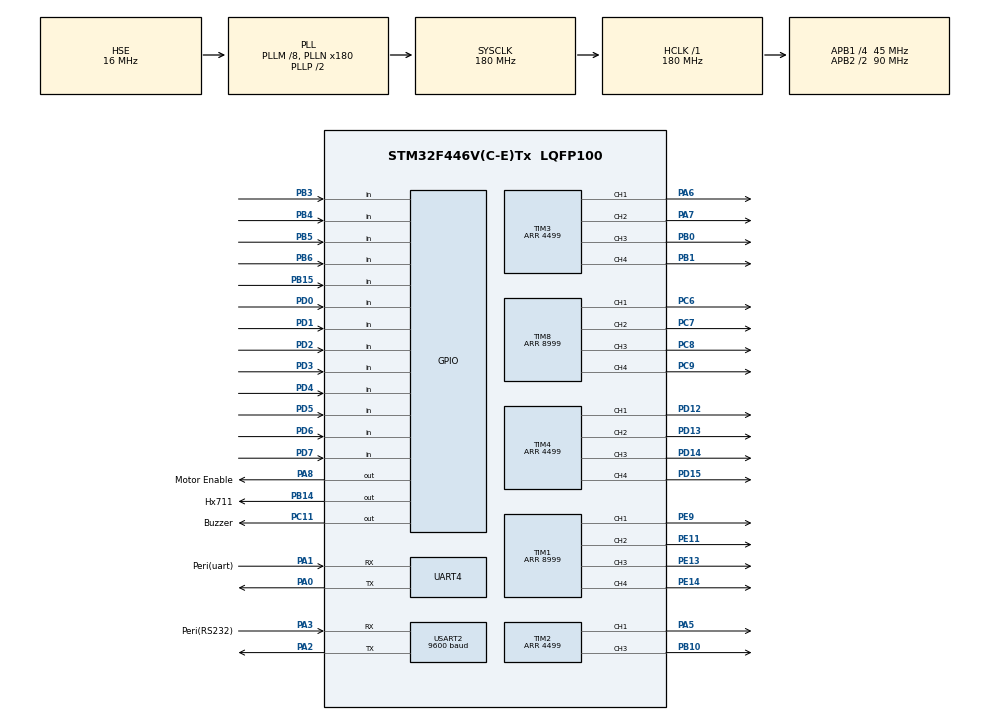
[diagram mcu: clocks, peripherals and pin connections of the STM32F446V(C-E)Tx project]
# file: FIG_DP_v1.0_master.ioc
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Mcu.Family=STM32F4
Mcu.Name=STM32F446V(C-E)Tx
Mcu.Package=LQFP100
NVIC.PriorityGroup=NVIC_PRIORITYGROUP_4
NVIC.TIM1_TRG_COM_TIM11_IRQn=true\:0\:0\:false\:false\:true\:true\:true
NVIC.UART4_IRQn=true\:0\:0\:false\:false\:true\:true\:true
NVIC.USART2_IRQn=true\:0\:0\:false\:false\:true\:true\:true
PA0-WKUP.Mode=Asynchronous
PA0-WKUP.Signal=UART4_TX
PA1.GPIO_Label=Peri(uart)
PA1.Mode=Asynchronous
PA1.Signal=UART4_RX
PA2.Mode=Asynchronous
PA2.Signal=USART2_TX
PA3.GPIO_Label=Peri(RS232)
PA3.Mode=Asynchronous
PA3.Signal=USART2_RX
PA5.Signal=S_TIM2_CH1_ETR
PA6.Signal=S_TIM3_CH1
PA7.Signal=S_TIM3_CH2
PA8.GPIO_Label=Motor Enable
PA8.Signal=GPIO_Output
PB0.Signal=S_TIM3_CH3
PB1.Signal=S_TIM3_CH4
PB10.Signal=S_TIM2_CH3
PB14.GPIO_Label=Hx711
PB14.Signal=GPIO_Output
PB15.Signal=GPIO_Input
PB3.Signal=GPIO_Input
PB4.Signal=GPIO_Input
PB5.Signal=GPIO_Input
PB6.Signal=GPIO_Input
PC11.GPIO_Label=Buzzer
PC11.GPIO_PuPd=GPIO_PULLDOWN
PC11.PinState=GPIO_PIN_RESET
PC11.Signal=GPIO_Output
PC6.Signal=S_TIM8_CH1
PC7.Signal=S_TIM8_CH2
PC8.Signal=S_TIM8_CH3
PC9.Signal=S_TIM8_CH4
PD0.Signal=GPIO_Input
PD1.Signal=GPIO_Input
PD12.Signal=S_TIM4_CH1
PD13.Signal=S_TIM4_CH2
PD14.Signal=S_TIM4_CH3
PD15.Signal=S_TIM4_CH4
PD2.Signal=GPIO_Input
PD3.Signal=GPIO_Input
PD4.Signal=GPIO_Input
PD5.Signal=GPIO_Input
PD6.Signal=GPIO_Input
PD7.Signal=GPIO_Input
PE11.Signal=S_TIM1_CH2
PE13.Signal=S_TIM1_CH3
PE14.Signal=S_TIM1_CH4
PE9.Signal=S_TIM1_CH1
PH0-OSC_IN.Mode=HSE-External-Oscillator
PH0-OSC_IN.Signal=RCC_OSC_IN
PH1-OSC_OUT.Mode=HSE-External-Oscillator
PH1-OSC_OUT.Signal=RCC_OSC_OUT
ProjectManager.HeapSize=0x200
ProjectManager.StackSize=0x400
ProjectManager.TargetToolchain=EWARM V8.32
RCC.AHBFreq_Value=180000000
RCC.APB1CLKDivider=RCC_HCLK_DIV4
RCC.APB1Freq_Value=45000000
RCC.APB1TimFreq_Value=90000000
RCC.APB2CLKDivider=RCC_HCLK_DIV2
RCC.APB2Freq_Value=90000000
RCC.APB2TimFreq_Value=180000000
RCC.CortexFreq_Value=180000000
RCC.HCLKFreq_Value=180000000
RCC.HSE_VALUE=16000000
RCC.PLLM=8
RCC.PLLN=180
RCC.PLLSourceVirtual=RCC_PLLSOURCE_HSE
RCC.SYSCLKFreq_VALUE=180000000
RCC.SYSCLKSource=RCC_SYSCLKSOURCE_PLLCLK
RCC.USBFreq_Value=180000000
RCC.VCOOutputFreq_Value=360000000
SH.S_TIM1_CH1.0=TIM1_CH1,PWM Generation1 CH1
SH.S_TIM1_CH2.0=TIM1_CH2,PWM Generation2 CH2
SH.S_TIM1_CH3.0=TIM1_CH3,PWM Generation3 CH3
SH.S_TIM1_CH4.0=TIM1_CH4,PWM Generation4 CH4
SH.S_TIM2_CH1_ETR.0=TIM2_CH1,Output Compare1 CH1
SH.S_TIM2_CH3.0=TIM2_CH3,PWM Generation3 CH3
SH.S_TIM3_CH1.0=TIM3_CH1,PWM Generation1 CH1
SH.S_TIM3_CH2.0=TIM3_CH2,PWM Generation2 CH2
SH.S_TIM3_CH3.0=TIM3_CH3,PWM Generation3 CH3
SH.S_TIM3_CH4.0=TIM3_CH4,PWM Generation4 CH4
SH.S_TIM4_CH1.0=TIM4_CH1,PWM Generation1 CH1
SH.S_TIM4_CH2.0=TIM4_CH2,PWM Generation2 CH2
SH.S_TIM4_CH3.0=TIM4_CH3,PWM Generation3 CH3
SH.S_TIM4_CH4.0=TIM4_CH4,PWM Generation4 CH4
SH.S_TIM8_CH1.0=TIM8_CH1,PWM Generation1 CH1
SH.S_TIM8_CH2.0=TIM8_CH2,PWM Generation2 CH2
SH.S_TIM8_CH3.0=TIM8_CH3,PWM Generation3 CH3
SH.S_TIM8_CH4.0=TIM8_CH4,PWM Generation4 CH4
TIM1.Channel-PWM\ Generation1\ CH1=TIM_CHANNEL_1
TIM1.Channel-PWM\ Generation2\ CH2=TIM_CHANNEL_2
TIM1.Channel-PWM\ Generation3\ CH3=TIM_CHANNEL_3
TIM1.Channel-PWM\ Generation4\ CH4=TIM_CHANNEL_4
TIM1.Period=8999
TIM11.Period=8999
TIM2.Channel-Output\ Compare1\ CH1=TIM_CHANNEL_1
TIM2.Channel-PWM\ Generation3\ CH3=TIM_CHANNEL_3
TIM2.Period=4499
TIM3.Channel-PWM\ Generation1\ CH1=TIM_CHANNEL_1
TIM3.Channel-PWM\ Generation2\ CH2=TIM_CHANNEL_2
TIM3.Channel-PWM\ Generation3\ CH3=TIM_CHANNEL_3
TIM3.Channel-PWM\ Generation4\ CH4=TIM_CHANNEL_4
TIM3.Period=4499
TIM4.Channel-PWM\ Generation1\ CH1=TIM_CHANNEL_1
TIM4.Channel-PWM\ Generation2\ CH2=TIM_CHANNEL_2
TIM4.Channel-PWM\ Generation3\ CH3=TIM_CHANNEL_3
TIM4.Channel-PWM\ Generation4\ CH4=TIM_CHANNEL_4
TIM4.Period=4499
TIM8.Channel-PWM\ Generation1\ CH1=TIM_CHANNEL_1
TIM8.Channel-PWM\ Generation2\ CH2=TIM_CHANNEL_2
TIM8.Channel-PWM\ Generation3\ CH3=TIM_CHANNEL_3
TIM8.Channel-PWM\ Generation4\ CH4=TIM_CHANNEL_4
TIM8.Period=8999
UART4.VirtualMode=Asynchronous
USART2.BaudRate=9600
USART2.VirtualMode=VM_ASYNC
VP_TIM11_VS_ClockSourceINT.Mode=Enable_Timer
VP_TIM1_VS_ClockSourceINT.Mode=Internal
VP_TIM2_VS_ClockSourceINT.Mode=Internal
VP_TIM3_VS_ClockSourceINT.Mode=Internal
VP_TIM4_VS_ClockSourceINT.Mode=Internal
VP_TIM8_VS_ClockSourceINT.Mode=Internal
board=custom

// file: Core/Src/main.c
/* USER CODE BEGIN Header */
/**
  ******************************************************************************
  * @file           : main.c
  * @brief          : Main program body
  ******************************************************************************
  * @attention
  *
  * <h2><center>&copy; Copyright (c) 2021 STMicroelectronics.
  * All rights reserved.</center></h2>
  *
  * This software component is licensed by ST under BSD 3-Clause license,
  * the "License"; You may not use this file except in compliance with the
  * License. You may obtain a copy of the License at:
  *                        opensource.org/licenses/BSD-3-Clause
  *
  ******************************************************************************
  */
/* USER CODE END Header */
#include "main.h"

/* USER CODE BEGIN Includes */

#include "st2_driver/st2_driver.h"  // 2phase
#include "st5_driver/st5_driver.h"  // 5phase

#include "HX711/hx711.h" //HX711

/* USER CODE END Includes */

TIM_HandleTypeDef htim1;
TIM_HandleTypeDef htim2;
TIM_HandleTypeDef htim3;
TIM_HandleTypeDef htim4;
TIM_HandleTypeDef htim8;
TIM_HandleTypeDef htim11;

UART_HandleTypeDef huart4;
UART_HandleTypeDef huart2;

void SystemClock_Config(void);
static void MX_GPIO_Init(void);
static void MX_TIM1_Init(void);
static void MX_TIM2_Init(void);
static void MX_TIM3_Init(void);
static void MX_TIM4_Init(void);
static void MX_TIM8_Init(void);
static void MX_TIM11_Init(void);
static void MX_UART4_Init(void);
static void MX_USART2_UART_Init(void);

/* USER CODE BEGIN 0 */

//For HX711
int read;
int read_aa;
int ave_read;
int ave_read_aa;

// IN
#define SENSOR_INPUT_NUM 5
#define INPUT_NUM 5

GPIO_TypeDef* sensorInputPort[] = {GPIOD, GPIOD, GPIOD, GPIOD, GPIOD};
uint16_t sensorInputPin[] = {GPIO_PIN_0, GPIO_PIN_1, GPIO_PIN_2, GPIO_PIN_3, GPIO_PIN_4};

GPIO_TypeDef* inputPort[] = {GPIOB, GPIOB, GPIOB, GPIOB};
uint16_t inputPin[] = {GPIO_PIN_3, GPIO_PIN_4, GPIO_PIN_5, GPIO_PIN_6};

GPIO_TypeDef* outputPort[] = {GPIOC};
uint16_t outputPin[] = {GPIO_PIN_11};

GPIO_PinState inputValue_1[5];
GPIO_PinState inputValue_2[4];
GPIO_PinState outputValue[1];

/////////////////////////////////////////////////////// 5Phase//////////////////

#define _5_PHASE_MOTOR_FREQUENCY 20000 // 20kHz

float st5_pwmDuty[10];

/////////////////////////////////////////////////////// 5Phase-----------------

/////////////////////////////////////////////////////// 2Phase//////////////////

#define _2_PHASE_MOTOR_FREQUENCY 20000 // 20kHz

float st2_pwmDuty[10];

/////////////////////////////////////////////////////// 2Phase-----------------

/////////////////////////////////////////////////////// step motor general /////

#define ENABLE_GATE     HAL_GPIO_WritePin(GPIOA, GPIO_PIN_8, GPIO_PIN_SET)
#define DISABLE_GATE    HAL_GPIO_WritePin(GPIOA, GPIO_PIN_8, GPIO_PIN_RESET)

// 20kHz callback interrupt with timer11
uint16_t cnt_for_tim11_debugging;     // Should be smaller than 9000
uint16_t max_cnt_for_tim11_debugging;
uint8_t cnt;

void HAL_TIM_PeriodElapsedCallback(TIM_HandleTypeDef *htim){

  if(htim == &htim11){

    ST2_Loop();
    ST5_Loop();

////////////////////////////////////////////5phase

    ST5_getPWM(st5_pwmDuty);

    // A
    if(st5_pwmDuty[0] > 0 && st5_pwmDuty[5] == 0){
      // High or Hi-Z...? (H1 L0)
      TIM3->CCR3 = (uint16_t)(st5_pwmDuty[0] * TIM3->ARR);      // VOHGA
      TIM3->CCR2 = (uint16_t)(1 * TIM3->ARR);      // VOLA
    }
    else if(st5_pwmDuty[0] == 0 && st5_pwmDuty[5] > 0){
      // Low (H0 L1)
      TIM3->CCR3 = (uint16_t)(st5_pwmDuty[0] * TIM3->ARR);      // VOHGA
      TIM3->CCR2 = (uint16_t)(st5_pwmDuty[5] * TIM3->ARR);      // VOLA
    }
    else if(st5_pwmDuty[0] == 0 && st5_pwmDuty[5] == 0){
      // Hi-Z (H0 L0)
      TIM3->CCR3 = (uint16_t)(st5_pwmDuty[0] * TIM3->ARR);      // VOHGA
      TIM3->CCR2 = (uint16_t)(st5_pwmDuty[5] * TIM3->ARR);      // VOLA
    }

    // B
    if(st5_pwmDuty[1] > 0 && st5_pwmDuty[6] == 0){
      // High or Hi-Z...? (H1 L0)
      TIM3->CCR1 = (uint16_t)(st5_pwmDuty[1] * TIM3->ARR);      // VOHGB
      TIM2->CCR1 = (uint16_t)(1 * TIM2->ARR);      // VOLB
    }
    else if(st5_pwmDuty[1] == 0 && st5_pwmDuty[6] > 0){
      // Low (H0 L1)
      TIM3->CCR1 = (uint16_t)(st5_pwmDuty[1] * TIM3->ARR);      // VOHGB
      TIM2->CCR1 = (uint16_t)(st5_pwmDuty[6] * TIM2->ARR);      // VOLB
    }
    else if(st5_pwmDuty[1] == 0 && st5_pwmDuty[6] == 0){
      // Hi-Z (H0 L0)
      TIM3->CCR1 = (uint16_t)(st5_pwmDuty[1] * TIM3->ARR);      // VOHGB
      TIM2->CCR1 = (uint16_t)(st5_pwmDuty[6] * TIM2->ARR);      // VOLB
    }

    // C
    if(st5_pwmDuty[2] > 0 && st5_pwmDuty[7] == 0){
      // High or Hi-Z...? (H1 L0)
      TIM2->CCR3 = (uint16_t)(st5_pwmDuty[2] * TIM2->ARR);      // VOHGC
      TIM1->CCR4 = (uint16_t)(1 * TIM1->ARR);      // VOLC
    }
    else if(st5_pwmDuty[2] == 0 && st5_pwmDuty[7] > 0){
      // Low (H0 L1)
      TIM2->CCR3 = (uint16_t)(st5_pwmDuty[2] * TIM2->ARR);      // VOHGC
      TIM1->CCR4 = (uint16_t)(st5_pwmDuty[7] * TIM1->ARR);      // VOLC
    }
    else if(st5_pwmDuty[2] == 0 && st5_pwmDuty[7] == 0){
      // Hi-Z (H0 L0)
      TIM2->CCR3 = (uint16_t)(st5_pwmDuty[2] * TIM2->ARR);      // VOHGC
      TIM1->CCR4 = (uint16_t)(st5_pwmDuty[7] * TIM1->ARR);      // VOLC
    }

    // D
    if(st5_pwmDuty[3] > 0 && st5_pwmDuty[8] == 0){
      // High or Hi-Z...? (H1 L0)
      TIM1->CCR3 = (uint16_t)(st5_pwmDuty[3] * TIM1->ARR);      // VOHGD
      TIM1->CCR2 = (uint16_t)(1 * TIM1->ARR);      // VOLD
    }
    else if(st5_pwmDuty[3] == 0.0 && st5_pwmDuty[8] > 0.0){
      // Low (H0 L1)
      TIM1->CCR3 = (uint16_t)(st5_pwmDuty[3] * TIM1->ARR);      // VOHGD
      TIM1->CCR2 = (uint16_t)(st5_pwmDuty[8] * TIM1->ARR);      // VOLD
    }
    else if(st5_pwmDuty[3] == 0.0 && st5_pwmDuty[8] == 0.0){
      // Hi-Z (H0 L0)
      TIM1->CCR3 = (uint16_t)(st5_pwmDuty[3] * TIM1->ARR);      // VOHGD
      TIM1->CCR2 = (uint16_t)(st5_pwmDuty[8] * TIM1->ARR);      // VOLD
    }

    // E
    if(st5_pwmDuty[4] > 0 && st5_pwmDuty[9] == 0){
      // High or Hi-Z...? (H1 L0)
      TIM1->CCR1 = (uint16_t)(st5_pwmDuty[4] * TIM1->ARR);      // VOHGE
      TIM3->CCR4 = (uint16_t)(1 * TIM3->ARR);      // VOLE
    }
    else if(st5_pwmDuty[4] == 0 && st5_pwmDuty[9] > 0){
      // Low (H0 L1)
      TIM1->CCR1 = (uint16_t)(st5_pwmDuty[4] * TIM1->ARR);      // VOHGE
      TIM3->CCR4 = (uint16_t)(st5_pwmDuty[9] * TIM3->ARR);      // VOLE
    }
    else if(st5_pwmDuty[4] == 0 && st5_pwmDuty[9] == 0){
      // Hi-Z (H0 L0)
      TIM1->CCR1 = (uint16_t)(st5_pwmDuty[4] * TIM1->ARR);      // VOHGE
      TIM3->CCR4 = (uint16_t)(st5_pwmDuty[9] * TIM3->ARR);      // VOLE
    }

////////////////////////////////////////////2phase
    ST2_getPWM(st2_pwmDuty);

    // A
    if(st2_pwmDuty[0] > 0 && st2_pwmDuty[4] == 0){
      // High or Hi-Z...? (H1 L0)
      TIM8->CCR2 = (uint16_t)(st2_pwmDuty[0] * TIM8->ARR);      // VOHGA
      TIM8->CCR1 = (uint16_t)(1 * TIM8->ARR);      // VOLA
    }
    else if(st2_pwmDuty[0] == 0 && st2_pwmDuty[4] > 0){
      // Low (H0 L1)
      TIM8->CCR2 = (uint16_t)(st2_pwmDuty[0] * TIM8->ARR);      // VOHGA
      TIM8->CCR1 = (uint16_t)(st2_pwmDuty[4] * TIM8->ARR);      // VOLA
    }
    else if(st2_pwmDuty[0] == 0 && st2_pwmDuty[4] == 0){
      // Hi-Z (H0 L0)
      TIM8->CCR2 = (uint16_t)(st2_pwmDuty[0] * TIM8->ARR);      // VOHGA
      TIM8->CCR1 = (uint16_t)(st2_pwmDuty[4] * TIM8->ARR);      // VOLA
    }

    // C
    if(st2_pwmDuty[1] > 0 && st2_pwmDuty[5] == 0){
      // High or Hi-Z...? (H1 L0)
      TIM4->CCR2 = (uint16_t)(st2_pwmDuty[1] * TIM4->ARR);      // VOHGC
      TIM4->CCR1 = (uint16_t)(1 * TIM4->ARR);      // VOLC
    }
    else if(st2_pwmDuty[2] == 0 && st2_pwmDuty[5] > 0){
      // Low (H0 L1)
      TIM4->CCR2 = (uint16_t)(st2_pwmDuty[1] * TIM4->ARR);      // VOHGC
      TIM4->CCR1 = (uint16_t)(st2_pwmDuty[5] * TIM4->ARR);      // VOLC
    }
    else if(st2_pwmDuty[1] == 0 && st2_pwmDuty[5] == 0){
      // Hi-Z (H0 L0)
      TIM4->CCR2 = (uint16_t)(st2_pwmDuty[1] * TIM4->ARR);      // VOHGC
      TIM4->CCR1 = (uint16_t)(st2_pwmDuty[5] * TIM4->ARR);      // VOLC
    }

    // B
    if(st2_pwmDuty[2] > 0 && st2_pwmDuty[6] == 0){
      // High or Hi-Z...? (H1 L0)
      TIM4->CCR4 = (uint16_t)(st2_pwmDuty[2] * TIM4->ARR);      // VOHGB
      TIM4->CCR3 = (uint16_t)(1 * TIM4->ARR);      // VOLB
    }
    else if(st2_pwmDuty[2] == 0 && st2_pwmDuty[6] > 0){
      // Low (H0 L1)
      TIM4->CCR4 = (uint16_t)(st2_pwmDuty[2] * TIM4->ARR);      // VOHGB
      TIM4->CCR3 = (uint16_t)(st2_pwmDuty[6] * TIM4->ARR);      // VOLB
    }
    else if(st2_pwmDuty[2] == 0 && st2_pwmDuty[6] == 0){
      // Hi-Z (H0 L0)
      TIM4->CCR4 = (uint16_t)(st2_pwmDuty[2] * TIM4->ARR);      // VOHGB
      TIM4->CCR3 = (uint16_t)(st2_pwmDuty[6] * TIM4->ARR);      // VOLB
    }

    // D
    if(st2_pwmDuty[3] > 0 && st2_pwmDuty[7] == 0){
      // High or Hi-Z...? (H1 L0)
      TIM8->CCR4 = (uint16_t)(st2_pwmDuty[3] * TIM8->ARR);      // VOHGD
      TIM8->CCR3 = (uint16_t)(1 * TIM8->ARR);      // VOLD
    }
    else if(st2_pwmDuty[3] == 0.0 && st2_pwmDuty[7] > 0.0){
      // Low (H0 L1)
      TIM8->CCR4 = (uint16_t)(st2_pwmDuty[3] * TIM8->ARR);      // VOHGD
      TIM8->CCR3 = (uint16_t)(st2_pwmDuty[7] * TIM8->ARR);      // VOLD
    }
    else if(st2_pwmDuty[3] == 0.0 && st2_pwmDuty[7] == 0.0){
      // Hi-Z (H0 L0)
      TIM8->CCR4 = (uint16_t)(st2_pwmDuty[3] * TIM8->ARR);      // VOHGD
      TIM8->CCR3 = (uint16_t)(st2_pwmDuty[7] * TIM8->ARR);      // VOLD
    }

    cnt_for_tim11_debugging = TIM11->CNT;
    if(max_cnt_for_tim11_debugging < cnt_for_tim11_debugging){
      max_cnt_for_tim11_debugging = cnt_for_tim11_debugging;
    }
  }
}

/////////////////////////////////////////////////////// step motor general -----

/* USER CODE END 0 */

int main(void)
{

  /* MCU Configuration--------------------------------------------------------*/

  /* Reset of all peripherals, Initializes the Flash interface and the Systick. */
  HAL_Init();

  /* Configure the system clock */
  SystemClock_Config();

  /* Initialize all configured peripherals */
  MX_GPIO_Init();
  MX_TIM1_Init();
  MX_TIM2_Init();
  MX_TIM3_Init();
  MX_TIM4_Init();
  MX_TIM8_Init();
  MX_TIM11_Init();
  MX_UART4_Init();
  MX_USART2_UART_Init();
  /* USER CODE BEGIN 2 */

  //FOR HX711
  HX711 sensor;
  sensor.PD_SCK_PinType=GPIOB;
  sensor.PD_SCK_PinNumber=GPIO_PIN_14;
  sensor.DOUT_PinType=GPIOB;
  sensor.DOUT_PinNumber=GPIO_PIN_15;
  sensor.mode=0;

  HX711_Tare(&sensor, 15);

/////////////////////////////////////////////////////// step motor general -----

  DISABLE_GATE;

  ////////////////////5phase
  HAL_TIM_PWM_Start(&htim3, TIM_CHANNEL_3);     // ST5 VOHGA
  HAL_TIM_PWM_Start(&htim3, TIM_CHANNEL_1);     // ST5 VOHGB
  HAL_TIM_PWM_Start(&htim2, TIM_CHANNEL_3);    // ST5 VOHGC
  HAL_TIM_PWM_Start(&htim1, TIM_CHANNEL_3);     // ST5 VOHGD
  HAL_TIM_PWM_Start(&htim1, TIM_CHANNEL_1);     // ST5 VOHGE

  HAL_TIM_PWM_Start(&htim3, TIM_CHANNEL_2);     // ST5 VOLA
  HAL_TIM_PWM_Start(&htim2, TIM_CHANNEL_1);    // ST5 VOLB
  HAL_TIM_PWM_Start(&htim1, TIM_CHANNEL_4);     // ST5 VOLC
  HAL_TIM_PWM_Start(&htim1, TIM_CHANNEL_2);     // ST5 VOLD
  HAL_TIM_PWM_Start(&htim3, TIM_CHANNEL_4);     // ST5 VOLE

  ST5_Init(_5_PHASE_MOTOR_FREQUENCY);

  ////////////////////2phase
  HAL_TIM_PWM_Start(&htim8, TIM_CHANNEL_2);     // ST2 VOHGA
  HAL_TIM_PWM_Start(&htim4, TIM_CHANNEL_2);     // ST2 VOHGC
  HAL_TIM_PWM_Start(&htim4, TIM_CHANNEL_4);     // ST2 VOHGB
  HAL_TIM_PWM_Start(&htim8, TIM_CHANNEL_4);     // ST2 VOHGD

  HAL_TIM_PWM_Start(&htim8, TIM_CHANNEL_1);     // ST2 VOLA
  HAL_TIM_PWM_Start(&htim4, TIM_CHANNEL_1);     // ST2 VOLC
  HAL_TIM_PWM_Start(&htim4, TIM_CHANNEL_3);     // ST2 VOLB
  HAL_TIM_PWM_Start(&htim8, TIM_CHANNEL_3);     // ST2 VOLD

  ST2_Init(_2_PHASE_MOTOR_FREQUENCY);

  ENABLE_GATE;

  HAL_TIM_Base_Start_IT(&htim11); // 20kHz interrupt with timer11

/////////////////////////////////////////////////////// step motor general -----

  /* USER CODE END 2 */

  /* Infinite loop */
  /* USER CODE BEGIN WHILE */
  while (1)
  {

    uint8_t i_io;

     // sensor input
      for(i_io=0; i_io<5; ++i_io){
        inputValue_1[i_io] = HAL_GPIO_ReadPin(sensorInputPort[i_io], sensorInputPin[i_io]);
        HAL_Delay(10);
      }
//      // input
      for(i_io=0; i_io<4; ++i_io){
        inputValue_2[i_io] = HAL_GPIO_ReadPin(inputPort[i_io], inputPin[i_io]);
        HAL_Delay(10);
      }

        // output ON & OFF
      if(outputValue[0] == 1){
        HAL_GPIO_WritePin(outputPort[0], outputPin[0], GPIO_PIN_SET);
        HAL_Delay(200);
      }
      if(outputValue[0] == 0){
        HAL_GPIO_WritePin(outputPort[0], outputPin[0], GPIO_PIN_RESET);
        HAL_Delay(200);
      }

    //HX711
    read = HX711_GetValue(&sensor);
    read_aa = (float)read/394.22;
    ave_read = HX711_GetAvgValue(&sensor, 15);
    ave_read_aa = (float)ave_read/394.22;

    /* USER CODE END WHILE */

  }
}

void SystemClock_Config(void)
{
  RCC_OscInitTypeDef RCC_OscInitStruct = {0};
  RCC_ClkInitTypeDef RCC_ClkInitStruct = {0};

  /** Configure the main internal regulator output voltage
  */
  __HAL_RCC_PWR_CLK_ENABLE();
  __HAL_PWR_VOLTAGESCALING_CONFIG(PWR_REGULATOR_VOLTAGE_SCALE1);
  /** Initializes the RCC Oscillators according to the specified parameters
  * in the RCC_OscInitTypeDef structure.
  */
  RCC_OscInitStruct.OscillatorType = RCC_OSCILLATORTYPE_HSE;
  RCC_OscInitStruct.HSEState = RCC_HSE_ON;
  RCC_OscInitStruct.PLL.PLLState = RCC_PLL_ON;
  RCC_OscInitStruct.PLL.PLLSource = RCC_PLLSOURCE_HSE;
  RCC_OscInitStruct.PLL.PLLM = 8;
  RCC_OscInitStruct.PLL.PLLN = 180;
  RCC_OscInitStruct.PLL.PLLP = RCC_PLLP_DIV2;
  RCC_OscInitStruct.PLL.PLLQ = 2;
  RCC_OscInitStruct.PLL.PLLR = 2;
  if (HAL_RCC_OscConfig(&RCC_OscInitStruct) != HAL_OK)
  {
    Error_Handler();
  }
  /** Activate the Over-Drive mode
  */
  if (HAL_PWREx_EnableOverDrive() != HAL_OK)
  {
    Error_Handler();
  }
  /** Initializes the CPU, AHB and APB buses clocks
  */
  RCC_ClkInitStruct.ClockType = RCC_CLOCKTYPE_HCLK|RCC_CLOCKTYPE_SYSCLK
                              |RCC_CLOCKTYPE_PCLK1|RCC_CLOCKTYPE_PCLK2;
  RCC_ClkInitStruct.SYSCLKSource = RCC_SYSCLKSOURCE_PLLCLK;
  RCC_ClkInitStruct.AHBCLKDivider = RCC_SYSCLK_DIV1;
  RCC_ClkInitStruct.APB1CLKDivider = RCC_HCLK_DIV4;
  RCC_ClkInitStruct.APB2CLKDivider = RCC_HCLK_DIV2;

  if (HAL_RCC_ClockConfig(&RCC_ClkInitStruct, FLASH_LATENCY_5) != HAL_OK)
  {
    Error_Handler();
  }
}

static void MX_TIM1_Init(void)
{

  TIM_ClockConfigTypeDef sClockSourceConfig = {0};
  TIM_MasterConfigTypeDef sMasterConfig = {0};
  TIM_OC_InitTypeDef sConfigOC = {0};
  TIM_BreakDeadTimeConfigTypeDef sBreakDeadTimeConfig = {0};

  htim1.Instance = TIM1;
  htim1.Init.Prescaler = 0;
  htim1.Init.CounterMode = TIM_COUNTERMODE_UP;
  htim1.Init.Period = 8999;
  htim1.Init.ClockDivision = TIM_CLOCKDIVISION_DIV1;
  htim1.Init.RepetitionCounter = 0;
  htim1.Init.AutoReloadPreload = TIM_AUTORELOAD_PRELOAD_DISABLE;
  if (HAL_TIM_Base_Init(&htim1) != HAL_OK)
  {
    Error_Handler();
  }
  sClockSourceConfig.ClockSource = TIM_CLOCKSOURCE_INTERNAL;
  if (HAL_TIM_ConfigClockSource(&htim1, &sClockSourceConfig) != HAL_OK)
  {
    Error_Handler();
  }
  if (HAL_TIM_PWM_Init(&htim1) != HAL_OK)
  {
    Error_Handler();
  }
  sMasterConfig.MasterOutputTrigger = TIM_TRGO_RESET;
  sMasterConfig.MasterSlaveMode = TIM_MASTERSLAVEMODE_DISABLE;
  if (HAL_TIMEx_MasterConfigSynchronization(&htim1, &sMasterConfig) != HAL_OK)
  {
    Error_Handler();
  }
  sConfigOC.OCMode = TIM_OCMODE_PWM1;
  sConfigOC.Pulse = 0;
  sConfigOC.OCPolarity = TIM_OCPOLARITY_HIGH;
  sConfigOC.OCNPolarity = TIM_OCNPOLARITY_HIGH;
  sConfigOC.OCFastMode = TIM_OCFAST_DISABLE;
  sConfigOC.OCIdleState = TIM_OCIDLESTATE_RESET;
  sConfigOC.OCNIdleState = TIM_OCNIDLESTATE_RESET;
  if (HAL_TIM_PWM_ConfigChannel(&htim1, &sConfigOC, TIM_CHANNEL_1) != HAL_OK)
  {
    Error_Handler();
  }
  if (HAL_TIM_PWM_ConfigChannel(&htim1, &sConfigOC, TIM_CHANNEL_2) != HAL_OK)
  {
    Error_Handler();
  }
  if (HAL_TIM_PWM_ConfigChannel(&htim1, &sConfigOC, TIM_CHANNEL_3) != HAL_OK)
  {
    Error_Handler();
  }
  if (HAL_TIM_PWM_ConfigChannel(&htim1, &sConfigOC, TIM_CHANNEL_4) != HAL_OK)
  {
    Error_Handler();
  }
  sBreakDeadTimeConfig.OffStateRunMode = TIM_OSSR_DISABLE;
  sBreakDeadTimeConfig.OffStateIDLEMode = TIM_OSSI_DISABLE;
  sBreakDeadTimeConfig.LockLevel = TIM_LOCKLEVEL_OFF;
  sBreakDeadTimeConfig.DeadTime = 0;
  sBreakDeadTimeConfig.BreakState = TIM_BREAK_DISABLE;
  sBreakDeadTimeConfig.BreakPolarity = TIM_BREAKPOLARITY_HIGH;
  sBreakDeadTimeConfig.AutomaticOutput = TIM_AUTOMATICOUTPUT_DISABLE;
  if (HAL_TIMEx_ConfigBreakDeadTime(&htim1, &sBreakDeadTimeConfig) != HAL_OK)
  {
    Error_Handler();
  }
  HAL_TIM_MspPostInit(&htim1);

}

static void MX_TIM2_Init(void)
{

  TIM_ClockConfigTypeDef sClockSourceConfig = {0};
  TIM_MasterConfigTypeDef sMasterConfig = {0};
  TIM_OC_InitTypeDef sConfigOC = {0};

  htim2.Instance = TIM2;
  htim2.Init.Prescaler = 0;
  htim2.Init.CounterMode = TIM_COUNTERMODE_UP;
  htim2.Init.Period = 4499;
  htim2.Init.ClockDivision = TIM_CLOCKDIVISION_DIV1;
  htim2.Init.AutoReloadPreload = TIM_AUTORELOAD_PRELOAD_DISABLE;
  if (HAL_TIM_Base_Init(&htim2) != HAL_OK)
  {
    Error_Handler();
  }
  sClockSourceConfig.ClockSource = TIM_CLOCKSOURCE_INTERNAL;
  if (HAL_TIM_ConfigClockSource(&htim2, &sClockSourceConfig) != HAL_OK)
  {
    Error_Handler();
  }
  if (HAL_TIM_OC_Init(&htim2) != HAL_OK)
  {
    Error_Handler();
  }
  if (HAL_TIM_PWM_Init(&htim2) != HAL_OK)
  {
    Error_Handler();
  }
  sMasterConfig.MasterOutputTrigger = TIM_TRGO_RESET;
  sMasterConfig.MasterSlaveMode = TIM_MASTERSLAVEMODE_DISABLE;
  if (HAL_TIMEx_MasterConfigSynchronization(&htim2, &sMasterConfig) != HAL_OK)
  {
    Error_Handler();
  }
  sConfigOC.OCMode = TIM_OCMODE_TIMING;
  sConfigOC.Pulse = 0;
  sConfigOC.OCPolarity = TIM_OCPOLARITY_HIGH;
  sConfigOC.OCFastMode = TIM_OCFAST_DISABLE;
  if (HAL_TIM_OC_ConfigChannel(&htim2, &sConfigOC, TIM_CHANNEL_1) != HAL_OK)
  {
    Error_Handler();
  }
  sConfigOC.OCMode = TIM_OCMODE_PWM1;
  if (HAL_TIM_PWM_ConfigChannel(&htim2, &sConfigOC, TIM_CHANNEL_3) != HAL_OK)
  {
    Error_Handler();
  }
  HAL_TIM_MspPostInit(&htim2);

}

static void MX_TIM3_Init(void)
{

  TIM_ClockConfigTypeDef sClockSourceConfig = {0};
  TIM_MasterConfigTypeDef sMasterConfig = {0};
  TIM_OC_InitTypeDef sConfigOC = {0};

  htim3.Instance = TIM3;
  htim3.Init.Prescaler = 0;
  htim3.Init.CounterMode = TIM_COUNTERMODE_UP;
  htim3.Init.Period = 4499;
  htim3.Init.ClockDivision = TIM_CLOCKDIVISION_DIV1;
  htim3.Init.AutoReloadPreload = TIM_AUTORELOAD_PRELOAD_DISABLE;
  if (HAL_TIM_Base_Init(&htim3) != HAL_OK)
  {
    Error_Handler();
  }
  sClockSourceConfig.ClockSource = TIM_CLOCKSOURCE_INTERNAL;
  if (HAL_TIM_ConfigClockSource(&htim3, &sClockSourceConfig) != HAL_OK)
  {
    Error_Handler();
  }
  if (HAL_TIM_PWM_Init(&htim3) != HAL_OK)
  {
    Error_Handler();
  }
  sMasterConfig.MasterOutputTrigger = TIM_TRGO_RESET;
  sMasterConfig.MasterSlaveMode = TIM_MASTERSLAVEMODE_DISABLE;
  if (HAL_TIMEx_MasterConfigSynchronization(&htim3, &sMasterConfig) != HAL_OK)
  {
    Error_Handler();
  }
  sConfigOC.OCMode = TIM_OCMODE_PWM1;
  sConfigOC.Pulse = 0;
  sConfigOC.OCPolarity = TIM_OCPOLARITY_HIGH;
  sConfigOC.OCFastMode = TIM_OCFAST_DISABLE;
  if (HAL_TIM_PWM_ConfigChannel(&htim3, &sConfigOC, TIM_CHANNEL_1) != HAL_OK)
  {
    Error_Handler();
  }
  if (HAL_TIM_PWM_ConfigChannel(&htim3, &sConfigOC, TIM_CHANNEL_2) != HAL_OK)
  {
    Error_Handler();
  }
  if (HAL_TIM_PWM_ConfigChannel(&htim3, &sConfigOC, TIM_CHANNEL_3) != HAL_OK)
  {
    Error_Handler();
  }
  if (HAL_TIM_PWM_ConfigChannel(&htim3, &sConfigOC, TIM_CHANNEL_4) != HAL_OK)
  {
    Error_Handler();
  }
  HAL_TIM_MspPostInit(&htim3);

}

static void MX_TIM4_Init(void)
{

  TIM_ClockConfigTypeDef sClockSourceConfig = {0};
  TIM_MasterConfigTypeDef sMasterConfig = {0};
  TIM_OC_InitTypeDef sConfigOC = {0};

  htim4.Instance = TIM4;
  htim4.Init.Prescaler = 0;
  htim4.Init.CounterMode = TIM_COUNTERMODE_UP;
  htim4.Init.Period = 4499;
  htim4.Init.ClockDivision = TIM_CLOCKDIVISION_DIV1;
  htim4.Init.AutoReloadPreload = TIM_AUTORELOAD_PRELOAD_DISABLE;
  if (HAL_TIM_Base_Init(&htim4) != HAL_OK)
  {
    Error_Handler();
  }
  sClockSourceConfig.ClockSource = TIM_CLOCKSOURCE_INTERNAL;
  if (HAL_TIM_ConfigClockSource(&htim4, &sClockSourceConfig) != HAL_OK)
  {
    Error_Handler();
  }
  if (HAL_TIM_PWM_Init(&htim4) != HAL_OK)
  {
    Error_Handler();
  }
  sMasterConfig.MasterOutputTrigger = TIM_TRGO_RESET;
  sMasterConfig.MasterSlaveMode = TIM_MASTERSLAVEMODE_DISABLE;
  if (HAL_TIMEx_MasterConfigSynchronization(&htim4, &sMasterConfig) != HAL_OK)
  {
    Error_Handler();
  }
  sConfigOC.OCMode = TIM_OCMODE_PWM1;
  sConfigOC.Pulse = 0;
  sConfigOC.OCPolarity = TIM_OCPOLARITY_HIGH;
  sConfigOC.OCFastMode = TIM_OCFAST_DISABLE;
  if (HAL_TIM_PWM_ConfigChannel(&htim4, &sConfigOC, TIM_CHANNEL_1) != HAL_OK)
  {
    Error_Handler();
  }
  if (HAL_TIM_PWM_ConfigChannel(&htim4, &sConfigOC, TIM_CHANNEL_2) != HAL_OK)
  {
    Error_Handler();
  }
  if (HAL_TIM_PWM_ConfigChannel(&htim4, &sConfigOC, TIM_CHANNEL_3) != HAL_OK)
  {
    Error_Handler();
  }
  if (HAL_TIM_PWM_ConfigChannel(&htim4, &sConfigOC, TIM_CHANNEL_4) != HAL_OK)
  {
    Error_Handler();
  }
  HAL_TIM_MspPostInit(&htim4);

}

static void MX_TIM8_Init(void)
{

  TIM_ClockConfigTypeDef sClockSourceConfig = {0};
  TIM_MasterConfigTypeDef sMasterConfig = {0};
  TIM_OC_InitTypeDef sConfigOC = {0};
  TIM_BreakDeadTimeConfigTypeDef sBreakDeadTimeConfig = {0};

  htim8.Instance = TIM8;
  htim8.Init.Prescaler = 0;
  htim8.Init.CounterMode = TIM_COUNTERMODE_UP;
  htim8.Init.Period = 8999;
  htim8.Init.ClockDivision = TIM_CLOCKDIVISION_DIV1;
  htim8.Init.RepetitionCounter = 0;
  htim8.Init.AutoReloadPreload = TIM_AUTORELOAD_PRELOAD_DISABLE;
  if (HAL_TIM_Base_Init(&htim8) != HAL_OK)
  {
    Error_Handler();
  }
  sClockSourceConfig.ClockSource = TIM_CLOCKSOURCE_INTERNAL;
  if (HAL_TIM_ConfigClockSource(&htim8, &sClockSourceConfig) != HAL_OK)
  {
    Error_Handler();
  }
  if (HAL_TIM_PWM_Init(&htim8) != HAL_OK)
  {
    Error_Handler();
  }
  sMasterConfig.MasterOutputTrigger = TIM_TRGO_RESET;
  sMasterConfig.MasterSlaveMode = TIM_MASTERSLAVEMODE_DISABLE;
  if (HAL_TIMEx_MasterConfigSynchronization(&htim8, &sMasterConfig) != HAL_OK)
  {
    Error_Handler();
  }
  sConfigOC.OCMode = TIM_OCMODE_PWM1;
  sConfigOC.Pulse = 0;
  sConfigOC.OCPolarity = TIM_OCPOLARITY_HIGH;
  sConfigOC.OCNPolarity = TIM_OCNPOLARITY_HIGH;
  sConfigOC.OCFastMode = TIM_OCFAST_DISABLE;
  sConfigOC.OCIdleState = TIM_OCIDLESTATE_RESET;
  sConfigOC.OCNIdleState = TIM_OCNIDLESTATE_RESET;
  if (HAL_TIM_PWM_ConfigChannel(&htim8, &sConfigOC, TIM_CHANNEL_1) != HAL_OK)
  {
    Error_Handler();
  }
  if (HAL_TIM_PWM_ConfigChannel(&htim8, &sConfigOC, TIM_CHANNEL_2) != HAL_OK)
  {
    Error_Handler();
  }
  if (HAL_TIM_PWM_ConfigChannel(&htim8, &sConfigOC, TIM_CHANNEL_3) != HAL_OK)
  {
    Error_Handler();
  }
  if (HAL_TIM_PWM_ConfigChannel(&htim8, &sConfigOC, TIM_CHANNEL_4) != HAL_OK)
  {
    Error_Handler();
  }
  sBreakDeadTimeConfig.OffStateRunMode = TIM_OSSR_DISABLE;
  sBreakDeadTimeConfig.OffStateIDLEMode = TIM_OSSI_DISABLE;
  sBreakDeadTimeConfig.LockLevel = TIM_LOCKLEVEL_OFF;
  sBreakDeadTimeConfig.DeadTime = 0;
  sBreakDeadTimeConfig.BreakState = TIM_BREAK_DISABLE;
  sBreakDeadTimeConfig.BreakPolarity = TIM_BREAKPOLARITY_HIGH;
  sBreakDeadTimeConfig.AutomaticOutput = TIM_AUTOMATICOUTPUT_DISABLE;
  if (HAL_TIMEx_ConfigBreakDeadTime(&htim8, &sBreakDeadTimeConfig) != HAL_OK)
  {
    Error_Handler();
  }
  HAL_TIM_MspPostInit(&htim8);

}

static void MX_TIM11_Init(void)
{

  htim11.Instance = TIM11;
  htim11.Init.Prescaler = 0;
  htim11.Init.CounterMode = TIM_COUNTERMODE_UP;
  htim11.Init.Period = 8999;
  htim11.Init.ClockDivision = TIM_CLOCKDIVISION_DIV1;
  htim11.Init.AutoReloadPreload = TIM_AUTORELOAD_PRELOAD_DISABLE;
  if (HAL_TIM_Base_Init(&htim11) != HAL_OK)
  {
    Error_Handler();
  }

}

static void MX_UART4_Init(void)
{

  huart4.Instance = UART4;
  huart4.Init.BaudRate = 115200;
  huart4.Init.WordLength = UART_WORDLENGTH_8B;
  huart4.Init.StopBits = UART_STOPBITS_1;
  huart4.Init.Parity = UART_PARITY_NONE;
  huart4.Init.Mode = UART_MODE_TX_RX;
  huart4.Init.HwFlowCtl = UART_HWCONTROL_NONE;
  huart4.Init.OverSampling = UART_OVERSAMPLING_16;
  if (HAL_UART_Init(&huart4) != HAL_OK)
  {
    Error_Handler();
  }

}

static void MX_USART2_UART_Init(void)
{

  huart2.Instance = USART2;
  huart2.Init.BaudRate = 9600;
  huart2.Init.WordLength = UART_WORDLENGTH_8B;
  huart2.Init.StopBits = UART_STOPBITS_1;
  huart2.Init.Parity = UART_PARITY_NONE;
  huart2.Init.Mode = UART_MODE_TX_RX;
  huart2.Init.HwFlowCtl = UART_HWCONTROL_NONE;
  huart2.Init.OverSampling = UART_OVERSAMPLING_16;
  if (HAL_UART_Init(&huart2) != HAL_OK)
  {
    Error_Handler();
  }

}

static void MX_GPIO_Init(void)
{
  GPIO_InitTypeDef GPIO_InitStruct = {0};

  /* GPIO Ports Clock Enable */
  __HAL_RCC_GPIOH_CLK_ENABLE();
  __HAL_RCC_GPIOA_CLK_ENABLE();
  __HAL_RCC_GPIOB_CLK_ENABLE();
  __HAL_RCC_GPIOE_CLK_ENABLE();
  __HAL_RCC_GPIOD_CLK_ENABLE();
  __HAL_RCC_GPIOC_CLK_ENABLE();

  /*Configure GPIO pin Output Level */
  HAL_GPIO_WritePin(Hx711_GPIO_Port, Hx711_Pin, GPIO_PIN_RESET);

  /*Configure GPIO pin Output Level */
  HAL_GPIO_WritePin(Motor_Enable_GPIO_Port, Motor_Enable_Pin, GPIO_PIN_RESET);

  /*Configure GPIO pin Output Level */
  HAL_GPIO_WritePin(Buzzer_GPIO_Port, Buzzer_Pin, GPIO_PIN_RESET);

  /*Configure GPIO pin : Hx711_Pin */
  GPIO_InitStruct.Pin = Hx711_Pin;
  GPIO_InitStruct.Mode = GPIO_MODE_OUTPUT_PP;
  GPIO_InitStruct.Pull = GPIO_NOPULL;
  GPIO_InitStruct.Speed = GPIO_SPEED_FREQ_LOW;
  HAL_GPIO_Init(Hx711_GPIO_Port, &GPIO_InitStruct);

  /*Configure GPIO pins : PB15 PB3 PB4 PB5
                           PB6 */
  GPIO_InitStruct.Pin = GPIO_PIN_15|GPIO_PIN_3|GPIO_PIN_4|GPIO_PIN_5
                          |GPIO_PIN_6;
  GPIO_InitStruct.Mode = GPIO_MODE_INPUT;
  GPIO_InitStruct.Pull = GPIO_NOPULL;
  HAL_GPIO_Init(GPIOB, &GPIO_InitStruct);

  /*Configure GPIO pin : Motor_Enable_Pin */
  GPIO_InitStruct.Pin = Motor_Enable_Pin;
  GPIO_InitStruct.Mode = GPIO_MODE_OUTPUT_PP;
  GPIO_InitStruct.Pull = GPIO_NOPULL;
  GPIO_InitStruct.Speed = GPIO_SPEED_FREQ_LOW;
  HAL_GPIO_Init(Motor_Enable_GPIO_Port, &GPIO_InitStruct);

  /*Configure GPIO pin : Buzzer_Pin */
  GPIO_InitStruct.Pin = Buzzer_Pin;
  GPIO_InitStruct.Mode = GPIO_MODE_OUTPUT_PP;
  GPIO_InitStruct.Pull = GPIO_PULLDOWN;
  GPIO_InitStruct.Speed = GPIO_SPEED_FREQ_LOW;
  HAL_GPIO_Init(Buzzer_GPIO_Port, &GPIO_InitStruct);

  /*Configure GPIO pins : PD0 PD1 PD2 PD3
                           PD4 PD5 PD6 PD7 */
  GPIO_InitStruct.Pin = GPIO_PIN_0|GPIO_PIN_1|GPIO_PIN_2|GPIO_PIN_3
                          |GPIO_PIN_4|GPIO_PIN_5|GPIO_PIN_6|GPIO_PIN_7;
  GPIO_InitStruct.Mode = GPIO_MODE_INPUT;
  GPIO_InitStruct.Pull = GPIO_NOPULL;
  HAL_GPIO_Init(GPIOD, &GPIO_InitStruct);

}

void Error_Handler(void)
{
  __disable_irq();
  while (1)
  {
  }
}

/************************ (C) COPYRIGHT STMicroelectronics *****END OF FILE****/
